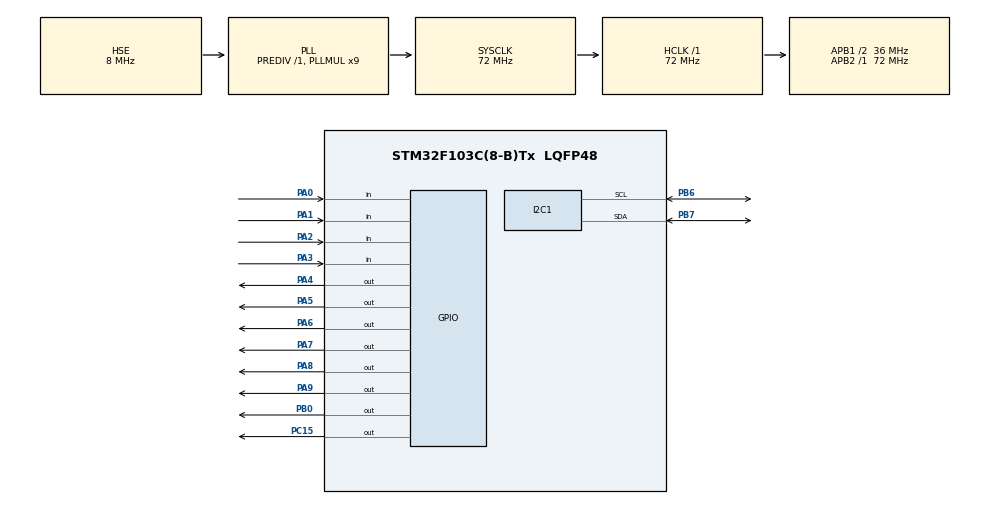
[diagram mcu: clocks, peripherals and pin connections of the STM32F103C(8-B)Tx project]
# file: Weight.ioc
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Mcu.Family=STM32F1
Mcu.Name=STM32F103C(8-B)Tx
Mcu.Package=LQFP48
NVIC.PriorityGroup=NVIC_PRIORITYGROUP_4
PA0-WKUP.Signal=GPIO_Input
PA1.Signal=GPIO_Input
PA13.Mode=Serial_Wire
PA13.Signal=SYS_JTMS-SWDIO
PA14.Mode=Serial_Wire
PA14.Signal=SYS_JTCK-SWCLK
PA2.Signal=GPIO_Input
PA3.Signal=GPIO_Input
PA4.Signal=GPIO_Output
PA5.Signal=GPIO_Output
PA6.Signal=GPIO_Output
PA7.Signal=GPIO_Output
PA8.Signal=GPIO_Output
PA9.Signal=GPIO_Output
PB0.Signal=GPIO_Output
PB6.Mode=I2C
PB6.Signal=I2C1_SCL
PB7.Mode=I2C
PB7.Signal=I2C1_SDA
PC15-OSC32_OUT.Signal=GPIO_Output
PD0-OSC_IN.Mode=HSE-External-Oscillator
PD0-OSC_IN.Signal=RCC_OSC_IN
PD1-OSC_OUT.Mode=HSE-External-Oscillator
PD1-OSC_OUT.Signal=RCC_OSC_OUT
ProjectManager.HeapSize=0x200
ProjectManager.StackSize=0x400
ProjectManager.TargetToolchain=STM32CubeIDE
RCC.AHBFreq_Value=72000000
RCC.APB1CLKDivider=RCC_HCLK_DIV2
RCC.APB1Freq_Value=36000000
RCC.APB1TimFreq_Value=72000000
RCC.APB2Freq_Value=72000000
RCC.APB2TimFreq_Value=72000000
RCC.HCLKFreq_Value=72000000
RCC.PLLMUL=RCC_PLL_MUL9
RCC.PLLSourceVirtual=RCC_PLLSOURCE_HSE
RCC.SYSCLKFreq_VALUE=72000000
RCC.SYSCLKSource=RCC_SYSCLKSOURCE_PLLCLK
RCC.USBFreq_Value=72000000
board=custom

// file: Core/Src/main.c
/* USER CODE BEGIN Header */
/**
  ******************************************************************************
  * @file           : main.c
  * @brief          : Main program body
  ******************************************************************************
  * @attention
  *
  * Copyright (c) 2024 STMicroelectronics.
  * All rights reserved.
  *
  * This software is licensed under terms that can be found in the LICENSE file
  * in the root directory of this software component.
  * If no LICENSE file comes with this software, it is provided AS-IS.
  *
  HX711:
  DT-PA9
  SCK PA8

  LCD-I2C:
  SDA-PB7
  SCL-PB6

  keypad: PA0->PA7
  Coi chip: PC15
  LED_LCD: PB0

#include "main.h"
#include <stdio.h>
#include "hx711.h"
#include "i2c-lcd.h"
#include "Keypad.h"
#include <stdlib.h>

  ******************************************************************************
  */
/* USER CODE END Header */
#include "main.h"
#include <stdio.h>
#include "hx711.h"
#include "i2c-lcd.h"
#include "Keypad.h"
#include <stdlib.h>
/* USER CODE BEGIN Includes */
float weight = 0.00;
hx711_t loadcell;
/* USER CODE END Includes */

/* USER CODE BEGIN PD */
#define R1_Port GPIOA           //row1 port (ngang)
#define R1_Pin GPIO_PIN_7		//row1 Pin

#define R2_Port GPIOA
#define R2_Pin GPIO_PIN_6

#define R3_Port GPIOA
#define R3_Pin GPIO_PIN_5

#define R4_Port GPIOA
#define R4_Pin GPIO_PIN_4

#define C1_Port GPIOA
#define C1_Pin GPIO_PIN_3

#define C2_Port GPIOA
#define C2_Pin GPIO_PIN_2

#define C3_Port GPIOA
#define C3_Pin GPIO_PIN_1

#define C4_Port GPIOA
#define C4_Pin GPIO_PIN_0
/* USER CODE END PD */

I2C_HandleTypeDef hi2c1;

/* USER CODE BEGIN PV */
char LCD_send[10];
/* USER CODE END PV */

void SystemClock_Config(void);
static void MX_GPIO_Init(void);
static void MX_I2C1_Init(void);

/* USER CODE BEGIN 0 */
uint8_t key = 0;
uint8_t shift = 8; // Biến khai báo vị trí đàu tiên của giá ti�?n
uint8_t buffer[10];
uint32_t Total = 0;
/* USER CODE END 0 */

int main(void)
{

  /* MCU Configuration--------------------------------------------------------*/

  /* Reset of all peripherals, Initializes the Flash interface and the Systick. */

	HAL_Init();

  /* Configure the system clock */
  SystemClock_Config();

  /* Initialize all configured peripherals */
  MX_GPIO_Init();
  MX_I2C1_Init();
  /* USER CODE BEGIN 2 */
  hx711_init(&loadcell, GPIOA, GPIO_PIN_8, GPIOA, GPIO_PIN_9);
  hx711_coef_set(&loadcell, 478); // read afer calibration 475
  hx711_tare(&loadcell, 10);

  lcd_init();
  keypad_init();

  lcd_gotoxy(2,0);
  lcd_send_string("ELECTRONIC SCALE");

  lcd_gotoxy(0,1);
  lcd_send_string("Weight:");

  lcd_gotoxy(0,2);
  lcd_send_string("Price :");
  lcd_gotoxy(17,2);
  lcd_send_string("VND");

  lcd_gotoxy(0,3);
  lcd_send_string("Total :");
  lcd_gotoxy(17,3);
  lcd_send_string("VND");
  /* USER CODE BEGIN 2 */

  /* USER CODE END 2 */

  /* Infinite loop */
  while (1)
  {

    /* USER CODE BEGIN 3 */
/*LoadCell-HX711-----------------------------------------------------------------*/
	  weight = hx711_weight(&loadcell, 10);
	  if(weight < 1)weight = 0.00;
	  {
		  lcd_gotoxy(8,1);
		  sprintf(LCD_send, "%.3f", weight);  //weight
		  lcd_send_string(LCD_send);
		  lcd_gotoxy(14,1);
		  lcd_send_string("   Gam");
		  HAL_GPIO_WritePin(GPIOB, GPIO_PIN_0,0);
		  HAL_GPIO_WritePin(GPIOC, GPIO_PIN_15,0);
	  }
	  if(weight > 1)
	  {
		  HAL_GPIO_WritePin(GPIOB, GPIO_PIN_0,1);
	  }
	  if(weight > 3000)
	  {
		  lcd_gotoxy(8,1);
		  lcd_send_string("OVERLOAD    ");
		  HAL_GPIO_WritePin(GPIOC, GPIO_PIN_15,1);
	  }
/*LCD-Keypad 4x4 ------------------------------------------------------------------*/
	  buffer[key] = keypad_scan();
	  if(buffer[key] != 0 && buffer[key] != 'A' && buffer[key] != 'B'&& buffer[key] != 'C')
	  {
		  lcd_gotoxy(0,2);
		  lcd_send_string("Price :");
		  lcd_gotoxy(shift, 2);
		  lcd_send_data(buffer[key]);
		  shift++;						 //Tăng giá trị vị trí hiển thị số tiếp theo
		  if(shift > 19) shift = 8;
		  key++;						 //Tăng giá trị phần tử mảng sau khi nhấn nút
	  }
/*Trừ bì khi nhấn nút A--------------------------------------------------------------*/
	  if(buffer[key] == 'A')
	  {
		  NVIC_SystemReset();
	  }
/* Xóa giá tri khi nhấn nút B-------------------------------------------------------*/
	  if(buffer[key] == 'B')
	  {
		  shift = 8;					// dua con tro vi tri gia tri dau tien 7
		  for(int i = 0; i< 10; i ++)	//xóa dữ liệu trong mảng buffer[]
		  {
			  buffer[i] = 0;
		  }
		  key = 0;						// Xóa giá trị phần tử
		  lcd_gotoxy(0,2);
		  lcd_send_string("Price :          ");
		  lcd_gotoxy(0, 3);
		  lcd_send_string("Total :          ");
	  }
/*Tính tổng khi nhấn nút C-----------------------------------------------------------*/
	  if(buffer[key] == 'C')
	  {
		  //buffer[0] - 48 là để chuyển giá trị char thành giá trị int (Tham khảo bảng mã ASCII)
		  Total = (buffer[0] - 48)*10000 + (buffer[1] - 48)*1000+ (buffer[2] - 48)*100 + (buffer[3] - 48)*10 + (buffer[4] - 48)*1;
		  Total = Total * weight;
		  sprintf(LCD_send,"%ld",Total);
		  lcd_gotoxy(0, 3);
		  lcd_send_string("Total : ");
		  lcd_gotoxy(8, 3);
		  lcd_send_string(LCD_send);
	  }
  }
  /* USER CODE END 3 */
}

void SystemClock_Config(void)
{
  RCC_OscInitTypeDef RCC_OscInitStruct = {0};
  RCC_ClkInitTypeDef RCC_ClkInitStruct = {0};

  /** Initializes the RCC Oscillators according to the specified parameters
  * in the RCC_OscInitTypeDef structure.
  */
  RCC_OscInitStruct.OscillatorType = RCC_OSCILLATORTYPE_HSE;
  RCC_OscInitStruct.HSEState = RCC_HSE_ON;
  RCC_OscInitStruct.HSEPredivValue = RCC_HSE_PREDIV_DIV1;
  RCC_OscInitStruct.HSIState = RCC_HSI_ON;
  RCC_OscInitStruct.PLL.PLLState = RCC_PLL_ON;
  RCC_OscInitStruct.PLL.PLLSource = RCC_PLLSOURCE_HSE;
  RCC_OscInitStruct.PLL.PLLMUL = RCC_PLL_MUL9;
  if (HAL_RCC_OscConfig(&RCC_OscInitStruct) != HAL_OK)
  {
    Error_Handler();
  }

  /** Initializes the CPU, AHB and APB buses clocks
  */
  RCC_ClkInitStruct.ClockType = RCC_CLOCKTYPE_HCLK|RCC_CLOCKTYPE_SYSCLK
                              |RCC_CLOCKTYPE_PCLK1|RCC_CLOCKTYPE_PCLK2;
  RCC_ClkInitStruct.SYSCLKSource = RCC_SYSCLKSOURCE_PLLCLK;
  RCC_ClkInitStruct.AHBCLKDivider = RCC_SYSCLK_DIV1;
  RCC_ClkInitStruct.APB1CLKDivider = RCC_HCLK_DIV2;
  RCC_ClkInitStruct.APB2CLKDivider = RCC_HCLK_DIV1;

  if (HAL_RCC_ClockConfig(&RCC_ClkInitStruct, FLASH_LATENCY_2) != HAL_OK)
  {
    Error_Handler();
  }
}

static void MX_I2C1_Init(void)
{

  hi2c1.Instance = I2C1;
  hi2c1.Init.ClockSpeed = 100000;
  hi2c1.Init.DutyCycle = I2C_DUTYCYCLE_2;
  hi2c1.Init.OwnAddress1 = 0;
  hi2c1.Init.AddressingMode = I2C_ADDRESSINGMODE_7BIT;
  hi2c1.Init.DualAddressMode = I2C_DUALADDRESS_DISABLE;
  hi2c1.Init.OwnAddress2 = 0;
  hi2c1.Init.GeneralCallMode = I2C_GENERALCALL_DISABLE;
  hi2c1.Init.NoStretchMode = I2C_NOSTRETCH_DISABLE;
  if (HAL_I2C_Init(&hi2c1) != HAL_OK)
  {
    Error_Handler();
  }

}

static void MX_GPIO_Init(void)
{
  GPIO_InitTypeDef GPIO_InitStruct = {0};

  /* GPIO Ports Clock Enable */
  __HAL_RCC_GPIOC_CLK_ENABLE();
  __HAL_RCC_GPIOD_CLK_ENABLE();
  __HAL_RCC_GPIOA_CLK_ENABLE();
  __HAL_RCC_GPIOB_CLK_ENABLE();

  /*Configure GPIO pin Output Level */
  HAL_GPIO_WritePin(GPIOC, GPIO_PIN_15, GPIO_PIN_RESET);

  /*Configure GPIO pin Output Level */
  HAL_GPIO_WritePin(GPIOA, GPIO_PIN_4|GPIO_PIN_5|GPIO_PIN_6|GPIO_PIN_7
                          |GPIO_PIN_8|GPIO_PIN_9, GPIO_PIN_RESET);

  /*Configure GPIO pin Output Level */
  HAL_GPIO_WritePin(GPIOB, GPIO_PIN_0, GPIO_PIN_RESET);

  /*Configure GPIO pin : PC15 */
  GPIO_InitStruct.Pin = GPIO_PIN_15;
  GPIO_InitStruct.Mode = GPIO_MODE_OUTPUT_PP;
  GPIO_InitStruct.Pull = GPIO_NOPULL;
  GPIO_InitStruct.Speed = GPIO_SPEED_FREQ_LOW;
  HAL_GPIO_Init(GPIOC, &GPIO_InitStruct);

  /*Configure GPIO pins : PA0 PA1 PA2 PA3 */
  GPIO_InitStruct.Pin = GPIO_PIN_0|GPIO_PIN_1|GPIO_PIN_2|GPIO_PIN_3;
  GPIO_InitStruct.Mode = GPIO_MODE_INPUT;
  GPIO_InitStruct.Pull = GPIO_NOPULL;
  HAL_GPIO_Init(GPIOA, &GPIO_InitStruct);

  /*Configure GPIO pins : PA4 PA5 PA6 PA7
                           PA8 PA9 */
  GPIO_InitStruct.Pin = GPIO_PIN_4|GPIO_PIN_5|GPIO_PIN_6|GPIO_PIN_7
                          |GPIO_PIN_8|GPIO_PIN_9;
  GPIO_InitStruct.Mode = GPIO_MODE_OUTPUT_PP;
  GPIO_InitStruct.Pull = GPIO_NOPULL;
  GPIO_InitStruct.Speed = GPIO_SPEED_FREQ_LOW;
  HAL_GPIO_Init(GPIOA, &GPIO_InitStruct);

  /*Configure GPIO pin : PB0 */
  GPIO_InitStruct.Pin = GPIO_PIN_0;
  GPIO_InitStruct.Mode = GPIO_MODE_OUTPUT_PP;
  GPIO_InitStruct.Pull = GPIO_NOPULL;
  GPIO_InitStruct.Speed = GPIO_SPEED_FREQ_LOW;
  HAL_GPIO_Init(GPIOB, &GPIO_InitStruct);

}

void Error_Handler(void)
{
  __disable_irq();
  while (1)
  {
  }
}
